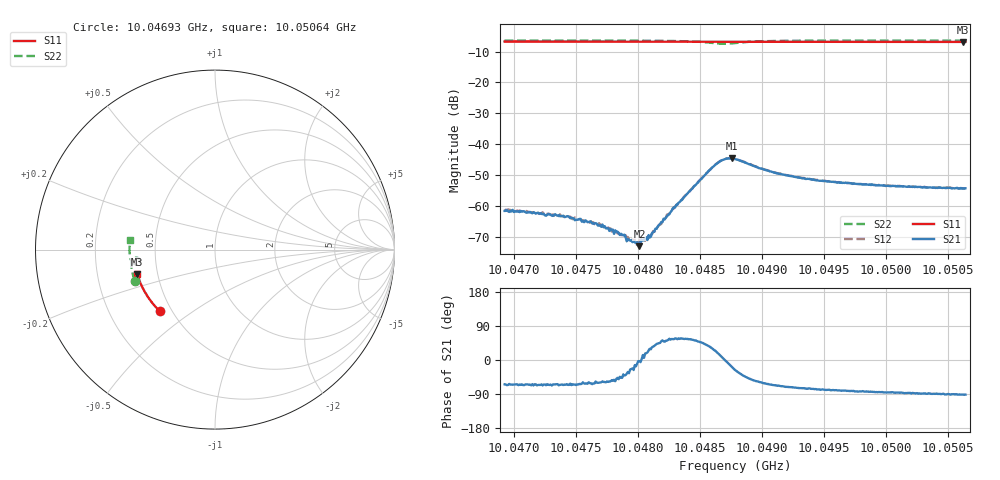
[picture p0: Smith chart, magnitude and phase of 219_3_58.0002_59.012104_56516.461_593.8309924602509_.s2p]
#  HZ  S  RI  R  50.00
! Rohde & Schwarz Vector Network Analyzer
! Rohde-Schwarz,ZNB20-2Port,1311601062101988,3.16
! Created: UTC 3/21/2024, 1:00:05 AM
! freq[Hz]  re:S11  im:S11  re:S21  im:S21  re:S12  im:S12  re:S22  im:S22
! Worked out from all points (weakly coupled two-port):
!   401 points, 10.04693 GHz to 10.05064 GHz, reference 50 ohm
!   highest |S21| = -44.63 dB at 10.04876 GHz (marker M1); lowest = -73.1 dB at 10.04801 GHz (marker M2)
!   lowest |S11| = -6.9 dB at 10.05062 GHz (marker M3), VSWR 2.66, Z = 19.2 - j6.54 ohm
!   |S11| at or under -10 dB: nowhere
!   |S22| runs from -7.5 to -6.4 dB; largest |S21 - S12| = 0.00039
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1.0046927e10  -0.3088 -0.342  0.000359 -0.000741  0.000426 -0.000728  -0.4468 -0.174
1.0047233e10  -0.323 -0.3275  0.000285 -0.000673  0.00039 -0.000677  -0.4534 -0.1542
1.0047345e10  -0.328 -0.322  0.000307 -0.000626  0.000344 -0.000621  -0.4557 -0.1467
1.0047549e10  -0.3372 -0.3121  0.000253 -0.000491  0.000253 -0.000526  -0.4592 -0.1327
1.0047735e10  -0.3452 -0.3025  0.000245 -0.000394  0.000277 -0.000375  -0.4622 -0.1195
1.0047884e10  -0.3512 -0.2948  0.000261 -0.000204  0.000266 -0.000222  -0.464 -0.1085
1.004793e10  -0.3532 -0.2924  0.000227 -0.000158  0.000237 -0.000157  -0.4644 -0.1046
1.0047986e10  -0.3555 -0.2894  0.000238 -7.08e-05  0.000245 -2.13e-05  -0.465 -0.1004
1.0048014e10  -0.3566 -0.2881  0.00022 -1.07e-05  0.000278 1.07e-05  -0.4651 -0.0982
1.0048051e10  -0.358 -0.286  0.000275 2.65e-05  0.00028 7.94e-05  -0.4655 -0.0952
1.0048097e10  -0.3598 -0.2835  0.000264 0.00015  0.000286 0.000168  -0.4657 -0.0912
1.0048172e10  -0.3628 -0.2796  0.000347 0.00034  0.000331 0.00036  -0.4657 -0.0847
1.0048283e10  -0.367 -0.2738  0.000519 0.000746  0.000462 0.000746  -0.4647 -0.0741
1.0048608e10  -0.3787 -0.2556  0.00376 0.00204  0.00367 0.00227  -0.4339 -0.0449
1.0048682e10  -0.381 -0.2517  0.00545 0.000647  0.00547 0.000928  -0.42 -0.0564
1.0048757e10  -0.3835 -0.2476  0.00559 -0.00179  0.00569 -0.00144  -0.4232 -0.0751
1.0048785e10  -0.3846 -0.2462  0.00511 -0.00252  0.00532 -0.0022  -0.4285 -0.0795
1.0049119e10  -0.3958 -0.2272  0.00131 -0.00312  0.00148 -0.00305  -0.468 -0.0581
1.0049407e10  -0.4046 -0.2103  0.000631 -0.00257  0.000781 -0.00255  -0.4741 -0.0331
1.0050029e10  -0.4208 -0.1726  0.000162 -0.00207  0.000286 -0.0021  -0.4763 0.0129
1.0050624e10  -0.4333 -0.1356  -4.81e-05 -0.00191  5.8e-05 -0.00191  -0.4732 0.0535
1.0050642e10  -0.4337 -0.1344  -4.55e-05 -0.00192  7.47e-05 -0.00194  -0.4731 0.0548
